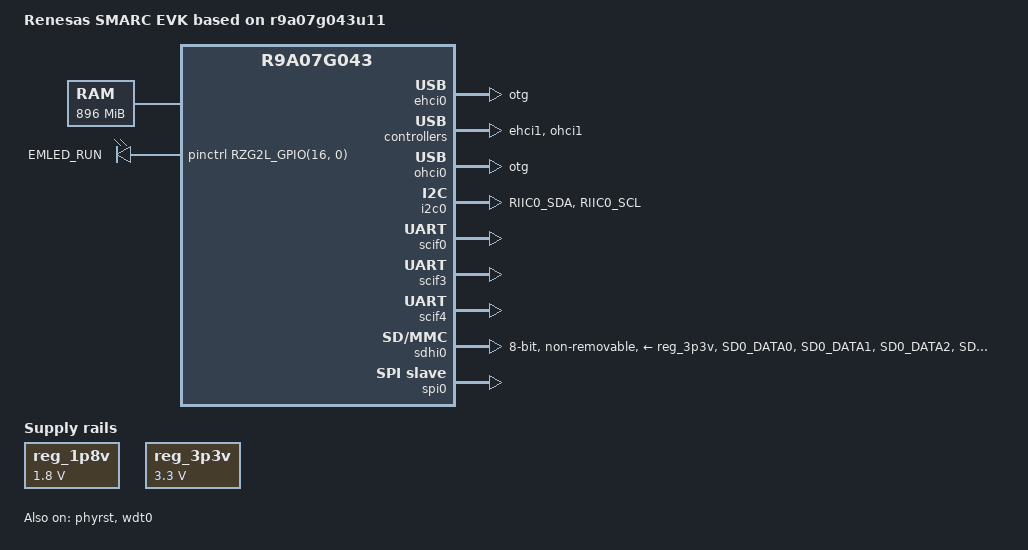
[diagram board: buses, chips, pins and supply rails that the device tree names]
// SPDX-License-Identifier: (GPL-2.0-only OR BSD-2-Clause)
/*
 * Device Tree Source for the RZ/G2UL LinYang
 *
 * Copyright (C) 2022 Renesas Electronics Corp.
 */

/dts-v1/;

#include "r9a07g043u.dtsi"

#include <dt-bindings/gpio/gpio.h>
#include <dt-bindings/pinctrl/rzg2l-pinctrl.h>

/ {
	model = "Renesas SMARC EVK based on r9a07g043u11";
	compatible = "renesas,smarc-evk", "renesas,r9a07g043u11", "renesas,r9a07g043";

	aliases {
		serial0 = &scif0;
		serial3 = &scif3;
		serial4 = &scif4;

		i2c0 = &i2c0;

		mmc0 = &sdhi0;

		rspi0 = &spi0;
	};

	chosen {
		stdout-path = "serial0:115200n8";
	};

	memory@48000000 {
		device_type = "memory";
		/* first 128MB is reserved for secure area. */
		reg = <0x0 0x48000000 0x0 0x38000000>;
	};

	reserved-memory {
		#address-cells = <2>;
		#size-cells = <2>;
		ranges;

		global_cma: linux,cma@58000000 {
			compatible = "shared-dma-pool";
			linux,cma-default;
			reusable;
			reg = <0x0 0x58000000 0x0 0x10000000>;
		};

		mmp_reserved: linux,multimedia {
			compatible = "shared-dma-pool";
			reusable;
			reg = <0x0 0x68000000 0x0 0x8000000>;
		};
	};

	mmngr {
		compatible = "renesas,mmngr";
		memory-region = <&mmp_reserved>;
	};

	mmngrbuf {
		compatible = "renesas,mmngrbuf";
	};

	vspm_if {
		compatible = "renesas,vspm_if";
	};

	reg_1p8v: regulator-1p8v {
		compatible = "regulator-fixed";
		regulator-name = "fixed-1.8V";
		regulator-min-microvolt = <1800000>;
		regulator-max-microvolt = <1800000>;
		regulator-boot-on;
		regulator-always-on;
	};

	reg_3p3v: regulator-3p3v {
		compatible = "regulator-fixed";
		regulator-name = "fixed-3.3V";
		regulator-min-microvolt = <3300000>;
		regulator-max-microvolt = <3300000>;
		regulator-boot-on;
		regulator-always-on;
	};

	leds {
		compatible = "gpio-leds";
		status = "okay";

		emled_run {
			gpios = <&pinctrl RZG2L_GPIO(16, 0) GPIO_ACTIVE_HIGH>;
			label = "EMLED_RUN";
			default-state = "on";
			linux,default-trigger = "none";
		};
	};
    
	ly_power {
		compatible = "ly-power";
		capacitor-discharge-gpios = <&pinctrl RZG2L_GPIO(10, 0) GPIO_ACTIVE_LOW>;
		pfi-gpios = <&pinctrl RZG2L_GPIO(7, 4) GPIO_ACTIVE_HIGH>;
		status = "disabled";
	};

	ly_watchdog {
		compatible = "ly-watchdog";
		feed-gpios = <&pinctrl RZG2L_GPIO(9, 3) GPIO_ACTIVE_HIGH>;
		status = "disabled";
	};
};

&extal_clk {
	clock-frequency = <24000000>;
};

&ostm1 {
	status = "disabled";
};

&ostm2 {
	status = "disabled";
};

&pinctrl {
	can0_pins: can0 {
		pinmux = <RZG2L_PORT_PINMUX(1, 1, 3)>, /* TX */
			 <RZG2L_PORT_PINMUX(1, 2, 3)>; /* RX */
	};

	can1_pins: can1 {
		pinmux = <RZG2L_PORT_PINMUX(2, 0, 3)>, /* TX */
			 <RZG2L_PORT_PINMUX(2, 1, 3)>; /* RX */
	};

	sdhi0_emmc_pins: sd0emmc {
		sd0_emmc_data {
			pins = "SD0_DATA0", "SD0_DATA1", "SD0_DATA2", "SD0_DATA3",
			       "SD0_DATA4", "SD0_DATA5", "SD0_DATA6", "SD0_DATA7";
			power-source = <1800>;
		};

		sd0_emmc_ctrl {
			pins = "SD0_CLK", "SD0_CMD";
			power-source = <1800>;
		};

		sd0_emmc_rst {
			pins = "SD0_RST#";
			power-source = <1800>;
		};
	};

	i2c0_pins: i2c0 {
		pins = "RIIC0_SDA", "RIIC0_SCL";
		input-enable;
	};

	scif0_pins: scif0 {
		pinmux = <RZG2L_PORT_PINMUX(6, 4, 6)>, /* TxD */
			 <RZG2L_PORT_PINMUX(6, 3, 6)>; /* RxD */
	};

	scif3_pins: scif3 {
		pinmux = <RZG2L_PORT_PINMUX(12, 0, 5)>, /* TxD */
			 <RZG2L_PORT_PINMUX(12, 1, 5)>; /* RxD */
	};

	scif4_pins: scif4 {
		pinmux = <RZG2L_PORT_PINMUX(9, 2, 6)>, /* TxD */
			 <RZG2L_PORT_PINMUX(9, 1, 6)>; /* RxD */
	};

	spi0_pins: spi0 {
		pinmux = <RZG2L_PORT_PINMUX(15, 0, 1)>, /* CK */
			 <RZG2L_PORT_PINMUX(15, 1, 1)>, /* MOSI */
			 <RZG2L_PORT_PINMUX(15, 2, 1)>, /* MISO */
			 <RZG2L_PORT_PINMUX(15, 3, 1)>; /* SSL */
	};
};

&canfd {
	pinctrl-0 = <&can0_pins &can1_pins>;
	pinctrl-names = "default";
	status = "disabled";

	channel0 {
		status = "disabled";
	};

	channel1 {
		status = "disabled";
	};
};

&ehci0 {
	dr_mode = "otg";
	status = "okay";
};

&ehci1 {
	status = "okay";
};

&ohci0 {
	dr_mode = "otg";
	status = "okay";
};

&ohci1 {
	status = "okay";
};

&phyrst {
	status = "okay";
};

&wdt0 {
	status = "okay";
	timeout-sec = <60>;
};

&i2c0 {
	pinctrl-0 = <&i2c0_pins>;
	pinctrl-names = "default";

	status = "okay";
};

&scif0 {
	pinctrl-0 = <&scif0_pins>;
	pinctrl-names = "default";
	dmas = <&dmac 0x4e79>, <&dmac 0x4e7a>;
	dma-names = "tx", "rx";
	status = "okay";
};

&scif3 {
	pinctrl-0 = <&scif3_pins>;
	pinctrl-names = "default";
	status = "okay";
};

&scif4 {
	pinctrl-0 = <&scif4_pins>;
	pinctrl-names = "default";
	status = "okay";
};

&sdhi0 {
	pinctrl-0 = <&sdhi0_emmc_pins>;
	pinctrl-1 = <&sdhi0_emmc_pins>;
	pinctrl-names = "default", "state_uhs";

	vmmc-supply = <&reg_3p3v>;
	vqmmc-supply = <&reg_1p8v>;
	bus-width = <8>;
	mmc-hs200-1_8v;
	non-removable;
	fixed-emmc-driver-type = <1>;
	status = "okay";
};

&spi0 {
	pinctrl-0 = <&spi0_pins>;
	pinctrl-names = "default";
	spi-slave;
	status = "okay";
	slave {
		compatible = "rohm,dh2228fv";
		reg = <0>;
		spi-max-frequency = <50000000>;
		spi-cpha;
		status = "okay";
	};
};
